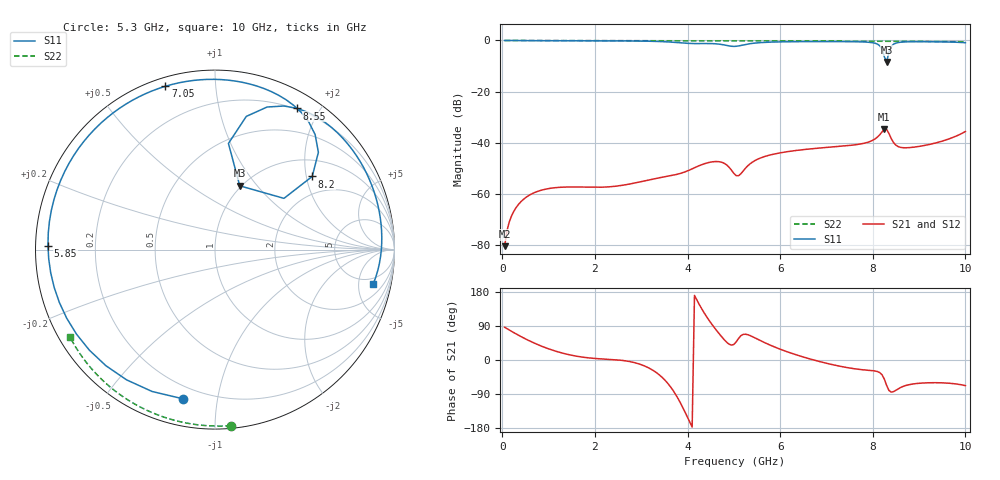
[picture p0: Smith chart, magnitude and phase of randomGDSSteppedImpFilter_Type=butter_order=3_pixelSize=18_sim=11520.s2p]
! freq	dB(S11)	phase(S11)	dB(S12)	phase(S12)
!  dB(S21)	phase(S21)	dB(S22)	phase(S22)
!S-par simulation data
#  GHz  S  DB  R 50
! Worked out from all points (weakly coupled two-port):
!   200 points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, 50 MHz to 10 GHz, reference 50 ohm
!   highest |S21| = -34.77 dB at 8.25 GHz (marker M1); lowest = -80.5 dB at 50 MHz (marker M2)
!   lowest |S11| = -8.4 dB at 8.3 GHz (marker M3), VSWR 2.23, Z = 49.2 + j40.9 ohm
!   |S11| at or under -10 dB: nowhere
!   |S22| runs from -0.5 to 0.0 dB; largest |S21 - S12| = 0
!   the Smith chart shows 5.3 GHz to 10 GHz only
!   S11 on the Smith chart (normalised r, x): 5.3 GHz: 0.13, -0.80; 5.85 GHz: 0.04, +0.01; 7.05 GHz: 0.04, +0.74; 8.2 GHz: 1.44, +2.17; 8.55 GHz: 0.19, +1.73; 10 GHz: 3.74, -7.62
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0.05  -0.00 -6.5  -80.53 86.4  -80.53 86.4  -0.00 -0.9
0.25  -0.04 -31.6  -66.83 72.1  -66.83 72.1  -0.01 -4.3
0.75  -0.10 -86.7  -59.16 41.4  -59.16 41.4  -0.02 -12.8
1.75  -0.13 -161.6  -57.42 7.3  -57.42 7.3  -0.04 -29.6
2.65  -0.18 143.9  -56.53 -2.1  -56.53 -2.1  -0.06 -44.3
3.4  -0.42 78.6  -53.73 -40.3  -53.73 -40.3  -0.07 -56.2
3.85  -0.92 -0.4  -52.03 -114.1  -52.03 -114.1  -0.09 -63.2
4.15  -1.22 -81.7  -49.82 170.6  -49.82 170.6  -0.10 -67.8
4.55  -1.25 170.5  -47.48 90.2  -47.48 90.2  -0.11 -73.8
4.8  -1.78 94.3  -48.16 52.6  -48.16 52.6  -0.12 -77.5
5.05  -2.28 -14.8  -52.90 47.6  -52.90 47.6  -0.12 -81.2
5.3  -1.41 -102.3  -49.09 66.8  -49.09 66.8  -0.13 -84.9
5.85  -0.62 178.6  -44.54 35.8  -44.54 35.8  -0.16 -92.7
6.7  -0.44 124.2  -42.36 0.8  -42.36 0.8  -0.20 -104.6
7.05  -0.44 106.9  -41.81 -10.1  -41.81 -10.1  -0.23 -109.4
7.85  -0.63 67.5  -40.08 -26.6  -40.08 -26.6  -0.28 -120.2
8.2  -3.38 37.0  -35.79 -39.0  -35.79 -39.0  -0.31 -124.9
8.25  -6.40 36.6  -34.77 -50.4  -34.77 -50.4  -0.32 -125.5
8.3  -8.38 68.8  -34.84 -67.2  -34.84 -67.2  -0.32 -126.2
8.35  -4.49 82.8  -36.44 -80.5  -36.44 -80.5  -0.33 -126.9
8.55  -0.81 59.8  -41.55 -75.9  -41.55 -75.9  -0.34 -129.6
10  -0.89 -12.1  -35.65 -67.7  -35.65 -67.7  -0.51 -148.9
